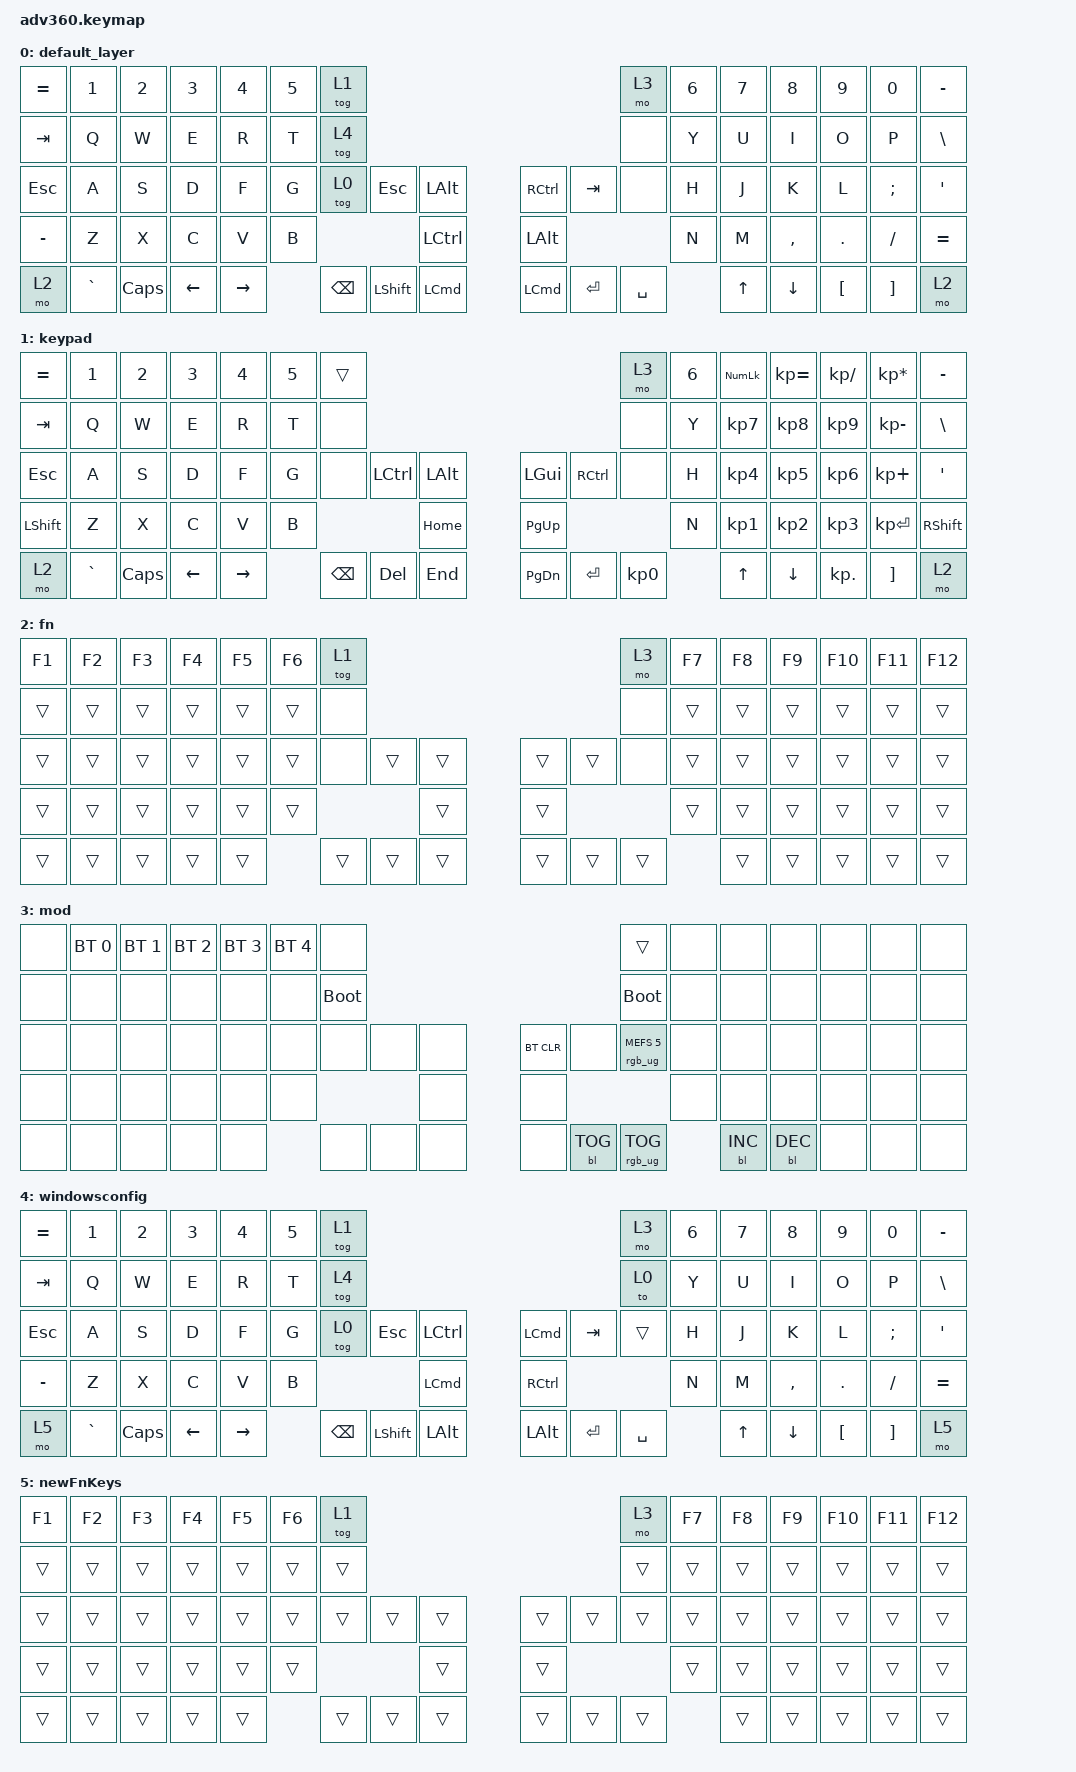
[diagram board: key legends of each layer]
#include <behaviors.dtsi>
#include <dt-bindings/zmk/backlight.h>
#include <dt-bindings/zmk/bt.h>
#include <dt-bindings/zmk/keys.h>
#include <dt-bindings/zmk/rgb.h>

/ {
    behaviors {
        #include "macros.dtsi"

        hm: homerow_mods {
            compatible = "zmk,behavior-hold-tap";
            label = "HOMEROW_MODS";
            #binding-cells = <2>;
            tapping-term-ms = <200>;
            quick_tap_ms = <175>;
            flavor = "tap-preferred";
            bindings = <&kp>, <&kp>;
        };
    };

    keymap {
        compatible = "zmk,keymap";

        default_layer {
            bindings = <
&kp EQUAL  &kp N1     &kp N2    &kp N3    &kp N4     &kp N5  &tog 1                                                                        &mo 3      &kp N6  &kp N7  &kp N8     &kp N9    &kp N0    &kp MINUS
&kp TAB    &kp Q      &kp W     &kp E     &kp R      &kp T   &tog 4                                                                        &none      &kp Y   &kp U   &kp I      &kp O     &kp P     &kp BSLH
&kp ESC    &kp A      &kp S     &kp D     &kp F      &kp G   &tog 0    &kp ESCAPE      &kp LEFT_ALT          &kp RIGHT_CONTROL  &kp TAB    &none      &kp H   &kp J   &kp K      &kp L     &kp SEMI  &kp SQT
&kp MINUS  &kp Z      &kp X     &kp C     &kp V      &kp B                             &kp LEFT_CONTROL      &kp LEFT_ALT                             &kp N   &kp M   &kp COMMA  &kp DOT   &kp FSLH  &kp EQUAL
&mo 2      &kp GRAVE  &kp CAPS  &kp LEFT  &kp RIGHT          &kp BSPC  &kp LEFT_SHIFT  &kp LEFT_COMMAND      &kp LEFT_COMMAND   &kp ENTER  &kp SPACE          &kp UP  &kp DOWN   &kp LBKT  &kp RBKT  &mo 2
            >;
        };

        keypad {
            bindings = <
&kp EQUAL  &kp N1     &kp N2    &kp N3    &kp N4     &kp N5  &trans                                                   &mo 3      &kp N6  &kp KP_NUM  &kp KP_EQUAL  &kp KP_DIVIDE  &kp KP_MULTIPLY  &kp MINUS
&kp TAB    &kp Q      &kp W     &kp E     &kp R      &kp T   &none                                                    &none      &kp Y   &kp KP_N7   &kp KP_N8     &kp KP_N9      &kp KP_MINUS     &kp BSLH
&kp ESC    &kp A      &kp S     &kp D     &kp F      &kp G   &none     &kp LCTRL  &kp LALT      &kp LGUI   &kp RCTRL  &none      &kp H   &kp KP_N4   &kp KP_N5     &kp KP_N6      &kp KP_PLUS      &kp SQT
&kp LSHFT  &kp Z      &kp X     &kp C     &kp V      &kp B                        &kp HOME      &kp PG_UP                        &kp N   &kp KP_N1   &kp KP_N2     &kp KP_N3      &kp KP_ENTER     &kp RSHFT
&mo 2      &kp GRAVE  &kp CAPS  &kp LEFT  &kp RIGHT          &kp BSPC  &kp DEL    &kp END       &kp PG_DN  &kp ENTER  &kp KP_N0          &kp UP      &kp DOWN      &kp KP_DOT     &kp RBKT         &mo 2
            >;
        };

        fn {
            bindings = <
&kp F1  &kp F2  &kp F3  &kp F4  &kp F5  &kp F6  &tog 1                                      &mo 3   &kp F7  &kp F8  &kp F9  &kp F10  &kp F11  &kp F12
&trans  &trans  &trans  &trans  &trans  &trans  &none                                       &none   &trans  &trans  &trans  &trans   &trans   &trans
&trans  &trans  &trans  &trans  &trans  &trans  &none   &trans  &trans      &trans  &trans  &none   &trans  &trans  &trans  &trans   &trans   &trans
&trans  &trans  &trans  &trans  &trans  &trans                  &trans      &trans                  &trans  &trans  &trans  &trans   &trans   &trans
&trans  &trans  &trans  &trans  &trans          &trans  &trans  &trans      &trans  &trans  &trans          &trans  &trans  &trans   &trans   &trans
            >;
        };

        mod {
            bindings = <
&none  &bt BT_SEL 0  &bt BT_SEL 1  &bt BT_SEL 2  &bt BT_SEL 3  &bt BT_SEL 4  &none                                                  &trans                  &none  &none       &none       &none  &none  &none
&none  &none         &none         &none         &none         &none         &bootloader                                            &bootloader             &none  &none       &none       &none  &none  &none
&none  &none         &none         &none         &none         &none         &none        &none  &none      &bt BT_CLR  &none       &rgb_ug RGB_MEFS_CMD 5  &none  &none       &none       &none  &none  &none
&none  &none         &none         &none         &none         &none                             &none      &none                                           &none  &none       &none       &none  &none  &none
&none  &none         &none         &none         &none                       &none        &none  &none      &none       &bl BL_TOG  &rgb_ug RGB_TOG                &bl BL_INC  &bl BL_DEC  &none  &none  &none
            >;
        };

        windows {
            bindings = <
&kp EQUAL  &kp N1     &kp N2    &kp N3    &kp N4     &kp N5  &tog 1                                                                        &mo 3      &kp N6  &kp N7  &kp N8     &kp N9    &kp N0    &kp MINUS
&kp TAB    &kp Q      &kp W     &kp E     &kp R      &kp T   &tog 4                                                                        &to 0      &kp Y   &kp U   &kp I      &kp O     &kp P     &kp BSLH
&kp ESC    &kp A      &kp S     &kp D     &kp F      &kp G   &tog 0    &kp ESCAPE      &kp LEFT_CONTROL      &kp LEFT_COMMAND   &kp TAB    &trans     &kp H   &kp J   &kp K      &kp L     &kp SEMI  &kp SQT
&kp MINUS  &kp Z      &kp X     &kp C     &kp V      &kp B                             &kp LEFT_COMMAND      &kp RIGHT_CONTROL                        &kp N   &kp M   &kp COMMA  &kp DOT   &kp FSLH  &kp EQUAL
&mo 5      &kp GRAVE  &kp CAPS  &kp LEFT  &kp RIGHT          &kp BSPC  &kp LEFT_SHIFT  &kp LEFT_ALT          &kp LEFT_ALT       &kp ENTER  &kp SPACE          &kp UP  &kp DOWN   &kp LBKT  &kp RBKT  &mo 5
            >;

            label = "windowsconfig";
        };

        newFnKeys {
            bindings = <
&kp F1  &kp F2  &kp F3  &kp F4  &kp F5  &kp F6  &tog 1                                      &mo 3   &kp F7  &kp F8  &kp F9  &kp F10  &kp F11  &kp F12
&trans  &trans  &trans  &trans  &trans  &trans  &trans                                      &trans  &trans  &trans  &trans  &trans   &trans   &trans
&trans  &trans  &trans  &trans  &trans  &trans  &trans  &trans  &trans      &trans  &trans  &trans  &trans  &trans  &trans  &trans   &trans   &trans
&trans  &trans  &trans  &trans  &trans  &trans                  &trans      &trans                  &trans  &trans  &trans  &trans   &trans   &trans
&trans  &trans  &trans  &trans  &trans          &trans  &trans  &trans      &trans  &trans  &trans          &trans  &trans  &trans   &trans   &trans
            >;
        };
    };
};
